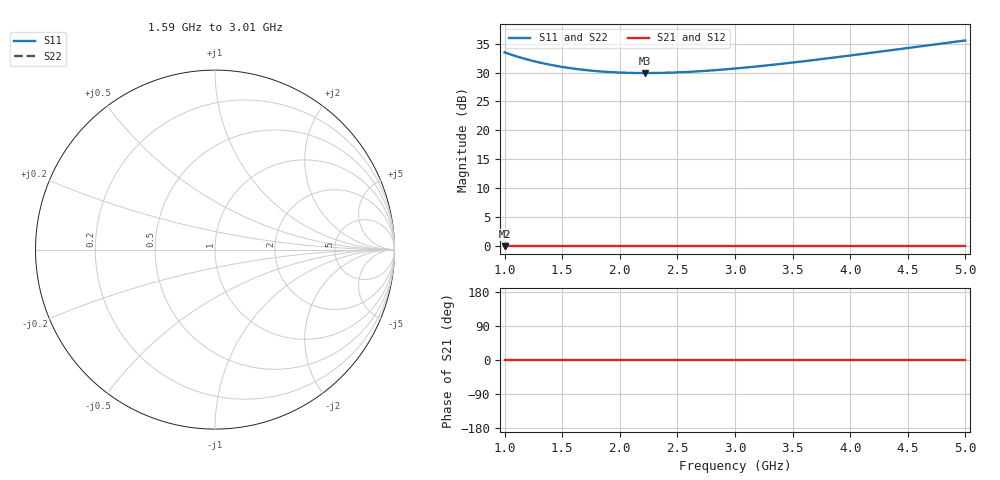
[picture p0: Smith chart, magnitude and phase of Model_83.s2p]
# GHZ S RI R 50
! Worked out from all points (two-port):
!   401 points, 1 GHz to 5 GHz, reference 50 ohm
!   highest |S21| = 0.00 dB at 1 GHz (marker M1); lowest = 0.0 dB at 1 GHz (marker M2)
!   |S21| within 3 dB of the highest: start of sweep to end of sweep
!   lowest |S11| = 29.9 dB at 2.22 GHz (marker M3)
!   |S11| at or under -10 dB: nowhere
!   |S22| runs from 29.9 to 35.5 dB; largest |S21 - S12| = 0
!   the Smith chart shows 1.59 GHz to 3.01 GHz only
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1  47.25 0  1 0  1 0  47.25 0
1.15  42.27 0  1 0  1 0  42.27 0
1.22  40.45 0  1 0  1 0  40.45 0
1.3  38.68 0  1 0  1 0  38.68 0
1.38  37.18 0  1 0  1 0  37.18 0
1.47  35.77 0  1 0  1 0  35.77 0
1.57  34.5 0  1 0  1 0  34.5 0
1.67  33.5 0  1 0  1 0  33.5 0
1.8  32.52 0  1 0  1 0  32.52 0
1.93  31.86 0  1 0  1 0  31.86 0
2.07  31.45 0  1 0  1 0  31.45 0
2.22  31.31 0  1 0  1 0  31.31 0
2.34  31.39 0  1 0  1 0  31.39 0
2.5  31.73 0  1 0  1 0  31.73 0
2.66  32.31 0  1 0  1 0  32.31 0
3  34.25 0  1 0  1 0  34.25 0
3.33  36.93 0  1 0  1 0  36.93 0
3.67  40.39 0  1 0  1 0  40.39 0
4  44.39 0  1 0  1 0  44.39 0
4.34  49.11 0  1 0  1 0  49.11 0
4.63  53.58 0  1 0  1 0  53.58 0
5  59.88 0  1 0  1 0  59.88 0
